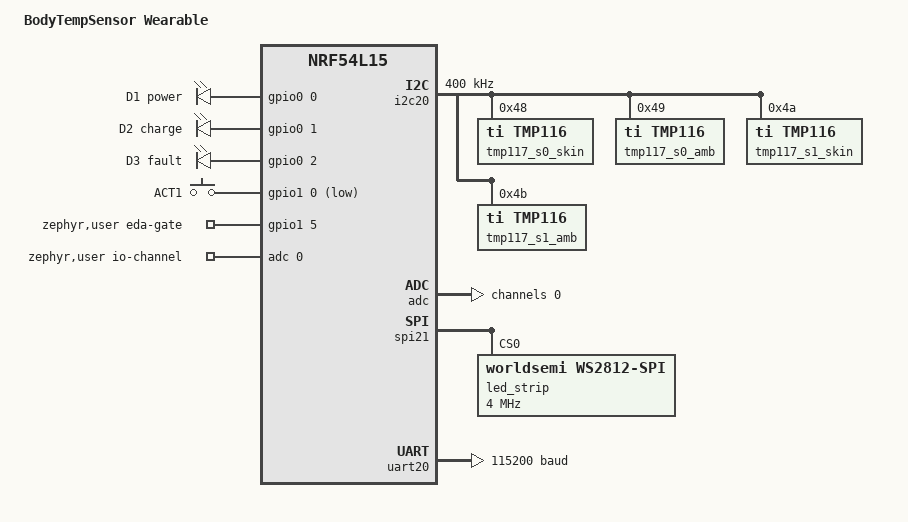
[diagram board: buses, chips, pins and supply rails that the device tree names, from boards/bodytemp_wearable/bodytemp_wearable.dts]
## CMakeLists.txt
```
# ============================================================================
#  File:    CMakeLists.txt
#  Purpose: App-level build script for the biometric chest-strap firmware.
#  Author:  Daan
#  Date:    2026-06-14
#
#  Description:
#    Standard nRF Connect SDK / Zephyr application CMake. Finds the Zephyr
#    package, registers the firmware sources, and exposes src/ as an include
#    root so modules use folder-qualified includes (e.g. "sensors/heatflux.h").
#    The board (DK or custom) is selected on the west command line, not here.
# ============================================================================

cmake_minimum_required(VERSION 3.20.0)

# BOARD_ROOT lets west find the custom board definition under boards/ in-tree.
list(APPEND BOARD_ROOT ${CMAKE_CURRENT_SOURCE_DIR})

find_package(Zephyr REQUIRED HINTS $ENV{ZEPHYR_BASE})
project(biometric_wearable LANGUAGES C)

# src/ as an include root so folder-qualified includes ("app/app_config.h",
# "sensors/heatflux.h", "util/log_cfg.h") resolve. The per-module subdirs are
# also added so a header can include a sibling module's header by bare name
# (e.g. temp_tmp117.h -> "app_data.h").
target_include_directories(app PRIVATE
	src
	src/app
	src/sensors
	src/radio
	src/hmi
	src/util
)

# ---- Firmware sources --------------------------------------------------------
target_sources(app PRIVATE
	src/main.c

	src/app/app_state.c

	src/sensors/temp_tmp117.c
	src/sensors/heatflux.c
	src/sensors/eda_gsr.c

	src/radio/ble_service.c
	src/radio/ant_profile.c

	src/hmi/buttons.c
	src/hmi/leds.c
	src/hmi/status_led.c

	src/util/battery.c
)
```

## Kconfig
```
# ============================================================================
#  File:    Kconfig
#  Purpose: App-specific Kconfig options (feature flags, future tunables).
#  Author:  Daan
#  Date:    2026-06-14
#
#  Description:
#    App-level Kconfig. Most numeric tunables live in src/app/app_config.h so
#    they are visible next to the code that uses them; this file exists for
#    options that genuinely belong in the build configuration (feature toggles
#    a downstream build or CI might want to flip). Sourcing the Zephyr Kconfig
#    at the end keeps the standard menu structure intact.
# ============================================================================

menu "Biometric Wearable (PoC) options"

config APP_FEATURE_ANT
	bool "Enable the ANT+ broadcast back-end"
	default y
	help
	  Compile and start the ANT+ broadcast profile (primary link). Turn off
	  for a BLE-only bring-up. Independent of the upstream CONFIG_ANT symbol
	  the ANT add-on provides; ant_profile.c also guards on CONFIG_ANT.

config APP_FEATURE_BLE
	bool "Enable the BLE GATT service back-end"
	default y
	help
	  Compile and start the custom BLE biometric service (secondary link).

endmenu

# Pull in the standard Zephyr Kconfig tree so the normal options remain.
source "Kconfig.zephyr"
```

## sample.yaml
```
# ============================================================================
#  File:    sample.yaml
#  Purpose: NCS-style sample metadata for CI / twister discovery.
#  Author:  Daan
#  Date:    2026-06-14
#
#  Description:
#    Optional NCS metadata describing this application as a buildable sample.
#    Lets Zephyr's twister build it for the DK target in CI. The custom board
#    is intentionally not listed as a default CI target until its definition is
#    finalised.
# ============================================================================

sample:
  name: Biometric Chest-Strap Wearable (PoC)
  description: >
    nRF54L15 firmware streaming TMP117 heat-flux core-temperature and EDA/GSR
    biometrics over ANT+ (primary) and a custom BLE GATT service (secondary).

common:
  tags: ant ble sensor saadc tmp117 led_strip

tests:
  sample.biometric_wearable.dk:
    platform_allow:
      - nrf54l15dk/nrf54l15/cpuapp
    integration_platforms:
      - nrf54l15dk/nrf54l15/cpuapp
    build_only: true
    tags: ble sensor
```

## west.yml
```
# ============================================================================
#  File:    west.yml
#  Purpose: Freestanding-app west manifest (NCS + ANT add-on).
#  Author:  Daan
#  Date:    2026-06-14
#
#  Description:
#    Use this ONLY if you manage the firmware as a freestanding west workspace
#    (its own .west/). It imports the nRF Connect SDK at a pinned revision and
#    adds the ANT for nRF Connect SDK add-on, which is NOT part of the default
#    NCS manifest. If you instead build inside an existing NCS tree, ignore this
#    file and add the firmware to that workspace's manifest.
#
#    Versions: pinned to NCS v3.3.0 (the current release as of 2026-06). The
#    ANT add-on tag is aligned to the matching sdk-nrf tag — confirm the exact
#    tag in the add-on release notes before relying on nRF54L support.
# ============================================================================

manifest:
  remotes:
    - name: nordic
      url-base: https://github.com/nrfconnect
    - name: thisisant
      # ANT add-on (sdk-ant). Mirror used by the official add-on docs.
      url-base: https://github.com/thisisant

  projects:
    # ---- nRF Connect SDK (pulls in Zephyr, MCUboot, drivers via import) ----
    - name: nrf
      remote: nordic
      repo-path: sdk-nrf
      revision: v3.3.0
      import: true

    # ---- ANT for nRF Connect SDK add-on (primary radio protocol) ----------
    # TODO(PoC): set 'revision' to the add-on tag that documents nRF54L
    # support in its compatibility matrix (see README assumptions).
    - name: sdk-ant
      remote: thisisant
      repo-path: sdk-ant
      revision: main
      path: ant

  self:
    path: application
```

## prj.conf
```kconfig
# ============================================================================
#  File:    prj.conf
#  Purpose: Kconfig for the biometric chest-strap firmware (all boards).
#  Author:  Daan
#  Date:    2026-06-14
#
#  Description:
#    Enables the subsystems the firmware needs: BLE peripheral + GATT, the ANT
#    add-on, I2C + TMP117 sensor, SAADC, GPIO, the WS2812 led_strip driver, and
#    logging. Board-specific pin/peripheral wiring lives in the devicetree
#    overlays, not here. Each non-obvious line is commented.
# ============================================================================

# ---- Logging ----------------------------------------------------------------
CONFIG_LOG=y
CONFIG_LOG_DEFAULT_LEVEL=3            # 3 = INFO; raise to 4 for debug bring-up

# ---- C library / float printing ---------------------------------------------
CONFIG_CBPRINTF_FP_SUPPORT=y          # LOG_*("%f", ...) for temps/conductance
CONFIG_FPU=y                          # heat-flux maths uses float

# ---- GPIO / sensors subsystem ----------------------------------------------
CONFIG_GPIO=y
CONFIG_SENSOR=y                       # Zephyr sensor API (TMP117 via tmp116)
CONFIG_TMP116=y                       # in-tree driver; covers TMP116 AND TMP117

# ---- I2C (TMP117 bus) -------------------------------------------------------
CONFIG_I2C=y

# ---- ADC / SAADC (EDA-GSR) --------------------------------------------------
CONFIG_ADC=y
CONFIG_ADC_NRFX_SAADC=y               # nRF SAADC backend

# ---- WS2812 status pixel ----------------------------------------------------
CONFIG_LED_STRIP=y
CONFIG_WS2812_STRIP=y                 # WS2812 led_strip (SPI variant in overlay)
CONFIG_SPI=y                          # SPI transport for worldsemi,ws2812-spi

# ---- Bluetooth LE (secondary link) ------------------------------------------
CONFIG_BT=y
CONFIG_BT_PERIPHERAL=y                # we advertise + accept one central
CONFIG_BT_DEVICE_NAME="BodyTempPoC"
CONFIG_BT_DEVICE_APPEARANCE=0
CONFIG_BT_GATT_DYNAMIC_DB=n           # service is static (BT_GATT_SERVICE_DEFINE)

# ---- ANT (primary link) -----------------------------------------------------
# Provided by the NCS ANT add-on. Symbols below assume the add-on is in the
# west manifest (see west.yml / README). ant_profile.c is guarded by CONFIG_ANT
# so the app still builds for BLE-only bring-up if the add-on is absent.
CONFIG_ANT=y

# ---- Multiprotocol arbitration ----------------------------------------------
# BLE + ANT coexist through MPSL timeslot arbitration that NCS provides; we do
# not hand-roll timeslots. MPSL is pulled in by the protocol stacks above.
CONFIG_MPSL=y

# ---- Kernel / threads -------------------------------------------------------
CONFIG_MAIN_STACK_SIZE=2048
CONFIG_SYSTEM_WORKQUEUE_STACK_SIZE=2048   # button debounce work runs here
CONFIG_HEAP_MEM_POOL_SIZE=2048

# ---- Optional: USB CDC ACM serial console -----------------------------------
# Uncomment to route the log/console over USB-C (J1) instead of the DK VCOM.
# CONFIG_USB_DEVICE_STACK=y
# CONFIG_USB_CDC_ACM=y
# CONFIG_UART_LINE_CTRL=y
```

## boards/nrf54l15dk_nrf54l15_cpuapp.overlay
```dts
/*
 * ============================================================================
 *  File:    nrf54l15dk_nrf54l15_cpuapp.overlay
 *  Purpose: DK bring-up wiring for the biometric chest-strap firmware.
 *  Author:  Daan
 *  Date:    2026-06-14
 *
 *  Description:
 *    Adds the peripherals the firmware needs on top of the stock nRF54L15 DK:
 *      - I2C bus with the four TMP117 sensors (two heat-flux stacks).
 *      - SAADC channel for the EDA/GSR signal + an excitation-gate GPIO.
 *      - One WS2812 status pixel on SPI.
 *    The DK's own `leds` and `buttons` (gpio-leds / gpio-keys) nodes are reused
 *    as-is: the firmware binds to them by node label, so no redefinition here.
 *
 *  NOTE: pin assignments below are placeholders chosen so the project builds
 *  and runs on a bare DK. Wire the DK headers to match, or edit these to suit
 *  your jumpering — they do not affect any source file.
 * ============================================================================
 */

#include <zephyr/dt-bindings/gpio/gpio.h>
#include <zephyr/dt-bindings/led/led.h>
#include <zephyr/dt-bindings/adc/adc.h>
#include <zephyr/dt-bindings/adc/nrf-saadc.h>

/* ============================================================
 *  PINCTRL  (I2C + SPI signal routing)
 * ============================================================ */
&pinctrl {
	/* I2C20 -> TMP117 bus. SDA P1.11, SCL P1.12. */
	i2c20_default: i2c20_default {
		group1 {
			psels = <NRF_PSEL(TWIM_SDA, 1, 11)>,
				<NRF_PSEL(TWIM_SCL, 1, 12)>;
		};
	};
	i2c20_sleep: i2c20_sleep {
		group1 {
			psels = <NRF_PSEL(TWIM_SDA, 1, 11)>,
				<NRF_PSEL(TWIM_SCL, 1, 12)>;
			low-power-enable;
		};
	};

	/* SPI21 -> WS2812 data line. Only MOSI carries data; SCK is parked. */
	spi21_default: spi21_default {
		group1 {
			psels = <NRF_PSEL(SPIM_SCK,  2, 1)>,
				<NRF_PSEL(SPIM_MOSI, 2, 2)>;
		};
	};
	spi21_sleep: spi21_sleep {
		group1 {
			psels = <NRF_PSEL(SPIM_SCK,  2, 1)>,
				<NRF_PSEL(SPIM_MOSI, 2, 2)>;
			low-power-enable;
		};
	};
};

/* ============================================================
 *  I2C20  +  FOUR TMP117 SENSORS
 * ============================================================ */
&i2c20 {
	status = "okay";
	pinctrl-0 = <&i2c20_default>;
	pinctrl-1 = <&i2c20_sleep>;
	pinctrl-names = "default", "sleep";
	clock-frequency = <400000>;   /* I2C fast mode */

	/*
	 * Four distinct ADD0 straps -> addresses 0x48..0x4B. Stack 0 = skin+amb
	 * at 0x48/0x49, stack 1 = skin+amb at 0x4A/0x4B. The Zephyr "ti,tmp116"
	 * driver covers the TMP117. Node LABELS are the contract with the code.
	 */
	tmp117_s0_skin: tmp117@48 {
		compatible = "ti,tmp116";
		reg = <0x48>;
	};
	tmp117_s0_amb: tmp117@49 {
		compatible = "ti,tmp116";
		reg = <0x49>;
	};
	tmp117_s1_skin: tmp117@4a {
		compatible = "ti,tmp116";
		reg = <0x4a>;
	};
	tmp117_s1_amb: tmp117@4b {
		compatible = "ti,tmp116";
		reg = <0x4b>;
	};
};

/* ============================================================
 *  SAADC  (EDA / GSR channel)
 * ============================================================ */
&adc {
	status = "okay";
	#address-cells = <1>;
	#size-cells = <0>;

	/*
	 * EDA channel: VDD/4 reference with gain 1/2 -> full scale ~1.65 V, which
	 * comfortably covers the MCP6001 TIA output swing. adc_raw_to_millivolts
	 * uses these to return calibrated input mV regardless of the exact combo.
	 */
	channel@0 {
		reg = <0>;
		zephyr,gain = "ADC_GAIN_1_2";
		zephyr,reference = "ADC_REF_VDD_1_4";
		zephyr,acquisition-time = <ADC_ACQ_TIME_DEFAULT>;
		zephyr,input-positive = <NRF_SAADC_AIN0>;
		zephyr,resolution = <12>;
	};
};

/* ============================================================
 *  SPI21  +  WS2812 STATUS PIXEL
 * ============================================================ */
&spi21 {
	status = "okay";
	pinctrl-0 = <&spi21_default>;
	pinctrl-1 = <&spi21_sleep>;
	pinctrl-names = "default", "sleep";

	led_strip: ws2812@0 {
		compatible = "worldsemi,ws2812-spi";
		reg = <0>;
		spi-max-frequency = <4000000>;
		chain-length = <1>;            /* single status pixel */
		color-mapping = <LED_COLOR_ID_GREEN
				 LED_COLOR_ID_RED
				 LED_COLOR_ID_BLUE>; /* WS2812 GRB order */
		spi-one-frame = <0x70>;        /* SPI byte encoding a '1' bit */
		spi-zero-frame = <0x40>;       /* SPI byte encoding a '0' bit */
	};
};

/* ============================================================
 *  APP-LEVEL NODES  (ADC channel handle + EDA excitation gate)
 * ============================================================ */
/ {
	zephyr,user {
		/* SAADC channel handle the eda_gsr module reads. */
		io-channels = <&adc 0>;

		/* GPIO that gates the electrode excitation drive. */
		eda-gate-gpios = <&gpio1 5 GPIO_ACTIVE_HIGH>;
	};

	chosen {
		/* status_led.c resolves the strip through this chosen node. */
		zephyr,led-strip = &led_strip;
	};
};
```

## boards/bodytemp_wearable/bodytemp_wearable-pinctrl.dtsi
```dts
/*
 * ============================================================================
 *  File:    bodytemp_wearable-pinctrl.dtsi
 *  Purpose: Pin routing for the custom BodyTempSensor PCB.
 *  Author:  Daan
 *  Date:    2026-06-14
 *
 *  Description:
 *    Signal-to-pin mapping for the real PCB's nRF54L15. Mirrors the DK overlay
 *    structure but with the production pin choices. Every PSEL below must be
 *    confirmed against the KiCad schematic before the first board spin is
 *    flashed — these are scaffold values, not verified routing.
 *
 *  TODO(PoC): replace every pin number with the schematic-confirmed net.
 * ============================================================================
 */

&pinctrl {
	/* --- I2C20: TMP117 heat-flux bus --- */
	i2c20_default: i2c20_default {
		group1 {
			psels = <NRF_PSEL(TWIM_SDA, 1, 11)>,
				<NRF_PSEL(TWIM_SCL, 1, 12)>;
		};
	};
	i2c20_sleep: i2c20_sleep {
		group1 {
			psels = <NRF_PSEL(TWIM_SDA, 1, 11)>,
				<NRF_PSEL(TWIM_SCL, 1, 12)>;
			low-power-enable;
		};
	};

	/* --- SPI21: WS2812 status pixel data line --- */
	spi21_default: spi21_default {
		group1 {
			psels = <NRF_PSEL(SPIM_SCK,  2, 1)>,
				<NRF_PSEL(SPIM_MOSI, 2, 2)>;
		};
	};
	spi21_sleep: spi21_sleep {
		group1 {
			psels = <NRF_PSEL(SPIM_SCK,  2, 1)>,
				<NRF_PSEL(SPIM_MOSI, 2, 2)>;
			low-power-enable;
		};
	};
};
```

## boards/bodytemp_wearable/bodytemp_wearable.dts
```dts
/*
 * ============================================================================
 *  File:    bodytemp_wearable.dts
 *  Purpose: Devicetree for the custom BodyTempSensor PCB (nRF54L15-QFAA).
 *  Author:  Daan
 *  Date:    2026-06-14
 *
 *  Description:
 *    Board definition for the real chest-strap PCB. Brings in the nRF54L15
 *    application-core SoC devicetree and the board pinctrl, then declares the
 *    on-board peripherals the firmware drives: the four TMP117 sensors, the
 *    EDA SAADC channel + excitation gate, the WS2812 status pixel, the three
 *    discrete LEDs (D1..D3), and the tactile button (ACT1).
 *
 *  TODO(PoC): this is a SCAFFOLD. Copy the exact SoC include, RAM/flash
 *  `chosen`, and partitioning from the installed NCS nrf54l15dk board files,
 *  then confirm every pin against the KiCad schematic. A second button child
 *  is stubbed (disabled) per the BOM discrepancy note.
 * ============================================================================
 */

/dts-v1/;

#include <nordic/nrf54l15_cpuapp.dtsi>
#include <zephyr/dt-bindings/gpio/gpio.h>
#include <zephyr/dt-bindings/led/led.h>
#include <zephyr/dt-bindings/adc/adc.h>
#include <zephyr/dt-bindings/adc/nrf-saadc.h>
#include "bodytemp_wearable-pinctrl.dtsi"

/ {
	model = "BodyTempSensor Wearable";
	compatible = "itsnotdaan,bodytemp-wearable";

	chosen {
		zephyr,sram = &cpuapp_sram;
		zephyr,flash = &cpuapp_rram;
		zephyr,console = &uart20;
		zephyr,led-strip = &led_strip;
	};

	/* --- Three discrete status LEDs (D1, D2, D3) --- */
	leds: leds {
		compatible = "gpio-leds";
		led_power: led_0 {
			gpios = <&gpio0 0 GPIO_ACTIVE_HIGH>;
			label = "D1 power";
		};
		led_charge: led_1 {
			gpios = <&gpio0 1 GPIO_ACTIVE_HIGH>;
			label = "D2 charge";
		};
		led_fault: led_2 {
			gpios = <&gpio0 2 GPIO_ACTIVE_HIGH>;
			label = "D3 fault";
		};
	};

	/*
	 * --- Buttons (gpio-keys) ---
	 * ACT1 is the single populated tactile switch. The firmware supports N
	 * buttons by iterating this node's children, so the second button is just
	 * a disabled child to enable later — no code change required.
	 */
	buttons: buttons {
		compatible = "gpio-keys";
		button_act1: button_0 {
			gpios = <&gpio1 0 (GPIO_PULL_UP | GPIO_ACTIVE_LOW)>;
			label = "ACT1";
		};
		/* TODO(PoC): populate + enable when a 2nd switch is fitted. */
		button_aux: button_1 {
			gpios = <&gpio1 1 (GPIO_PULL_UP | GPIO_ACTIVE_LOW)>;
			label = "AUX (stubbed)";
			status = "disabled";
		};
	};

	/* --- App-level handles: EDA ADC channel + excitation gate GPIO --- */
	zephyr,user {
		io-channels = <&adc 0>;
		eda-gate-gpios = <&gpio1 5 GPIO_ACTIVE_HIGH>;
	};
};

/* --- I2C20: four TMP117 sensors (two heat-flux stacks) --- */
&i2c20 {
	status = "okay";
	pinctrl-0 = <&i2c20_default>;
	pinctrl-1 = <&i2c20_sleep>;
	pinctrl-names = "default", "sleep";
	clock-frequency = <400000>;

	tmp117_s0_skin: tmp117@48 { compatible = "ti,tmp116"; reg = <0x48>; };
	tmp117_s0_amb:  tmp117@49 { compatible = "ti,tmp116"; reg = <0x49>; };
	tmp117_s1_skin: tmp117@4a { compatible = "ti,tmp116"; reg = <0x4a>; };
	tmp117_s1_amb:  tmp117@4b { compatible = "ti,tmp116"; reg = <0x4b>; };
};

/* --- SAADC: EDA / GSR channel --- */
&adc {
	status = "okay";
	#address-cells = <1>;
	#size-cells = <0>;

	channel@0 {
		reg = <0>;
		zephyr,gain = "ADC_GAIN_1_2";
		zephyr,reference = "ADC_REF_VDD_1_4";
		zephyr,acquisition-time = <ADC_ACQ_TIME_DEFAULT>;
		zephyr,input-positive = <NRF_SAADC_AIN0>;
		zephyr,resolution = <12>;
	};
};

/* --- SPI21: WS2812 single status pixel --- */
&spi21 {
	status = "okay";
	pinctrl-0 = <&spi21_default>;
	pinctrl-1 = <&spi21_sleep>;
	pinctrl-names = "default", "sleep";

	led_strip: ws2812@0 {
		compatible = "worldsemi,ws2812-spi";
		reg = <0>;
		spi-max-frequency = <4000000>;
		chain-length = <1>;
		color-mapping = <LED_COLOR_ID_GREEN
				 LED_COLOR_ID_RED
				 LED_COLOR_ID_BLUE>;
		spi-one-frame = <0x70>;
		spi-zero-frame = <0x40>;
	};
};

/* Console UART for SWD/USB debug logging during bring-up. */
&uart20 {
	status = "okay";
	current-speed = <115200>;
};
```

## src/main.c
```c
/**
 * ============================================================================
 *  File:    main.c
 *  Purpose: Entry point — initialise subsystems, start the sensor thread.
 *  Author:  Daan
 *  Date:    2026-06-14
 *
 *  Description:
 *    The project's table of contents. main() brings the hardware up in a
 *    deliberate order, spawns the periodic sensor-sampling thread, and then
 *    drops out — Zephyr idles the CPU between thread wakeups, so there is no
 *    busy-wait here. All business logic lives in the modules; main() only
 *    wires them together and owns the high-level status policy (LEDs).
 *
 *    Init order rationale (each step depends on the previous):
 *      1. GPIO LEDs/buttons/EDA-gate  - cheap, gives us a visible heartbeat.
 *      2. WS2812 status pixel         - so later failures can be shown in red.
 *      3. I2C + TMP117 sensors        - the core measurement chain.
 *      4. SAADC (EDA/GSR)             - the second measurement chain.
 *      5. BLE stack + service         - radios come AFTER sensors so the very
 *      6. ANT+ broadcast                first transmitted frame carries real
 *                                       data, not zeros.
 *      7. Sensor thread               - starts sampling once everything is up.
 * ============================================================================
 */

/* ============================================================
 *  INCLUDES
 * ============================================================ */
#include "app/app_config.h"
#include "app/app_data.h"
#include "app/app_state.h"

#include "sensors/temp_tmp117.h"
#include "sensors/eda_gsr.h"

#include "radio/ble_service.h"
#include "radio/ant_profile.h"

#include "hmi/buttons.h"
#include "hmi/leds.h"
#include "hmi/status_led.h"

#include "util/battery.h"
#include "util/log_cfg.h"

#include <zephyr/kernel.h>

LOG_MODULE_REGISTER(main, APP_LOG_LEVEL);

/* ============================================================
 *  DEFINES
 * ============================================================ */
#define SENSOR_THREAD_STACK_SIZE  2048
#define SENSOR_THREAD_PRIO        5

/* ============================================================
 *  STATIC GLOBALS
 * ============================================================ */
static K_THREAD_STACK_DEFINE(m_sensor_stack, SENSOR_THREAD_STACK_SIZE);
static struct k_thread m_sensor_thread;

/* Latches once any sensor faults so the status LED stays red until reboot. */
static bool m_sensor_fault_latched;

/* ============================================================
 *  PRIVATE FUNCTION PROTOTYPES
 * ============================================================ */
static void sensor_thread_fn(void *p1, void *p2, void *p3);
static void on_button_event(uint8_t index, button_event_t evt);
static void on_ble_conn(bool connected);
static void refresh_status_led(uint8_t frame_flags);

/* ============================================================
 *  PUBLIC FUNCTION (entry point)
 * ============================================================ */

/**
 * @brief  Firmware entry point: init subsystems then start sampling.
 * @return 0 (never reached in practice; Zephyr keeps the kernel running).
 */
int main(void)
{
	int rc;

	LOG_INF("Biometric chest-strap PoC starting (nRF54L15)");

	/* Shared-state mutex first — every later module may cache into it. */
	(void)app_state_init();

	/* 1. Discrete GPIO: LEDs, buttons, and the EDA excitation gate (in eda). */
	rc = leds_init();
	if (rc) {
		LOG_WRN("leds_init rc=%d", rc);
	}
	leds_set(LED_ROLE_POWER, true); /* visible heartbeat: we are alive */

	rc = buttons_init(on_button_event);
	if (rc) {
		LOG_WRN("buttons_init rc=%d", rc);
	}

	/* 2. Status pixel up early so any later fault can be shown in red. */
	rc = status_led_init();
	if (rc) {
		LOG_WRN("status_led_init rc=%d", rc);
	}

	/* 3. I2C + TMP117 heat-flux sensors. */
	rc = temp_tmp117_init();
	if (rc) {
		LOG_ERR("temp_tmp117_init rc=%d", rc);
		m_sensor_fault_latched = true;
	}

	/* 4. SAADC + excitation gate for the EDA/GSR channel. */
	rc = eda_gsr_init();
	if (rc) {
		LOG_ERR("eda_gsr_init rc=%d", rc);
		m_sensor_fault_latched = true;
	}

	/* Optional charger status inputs. */
	(void)battery_init();

	/* 5. BLE (secondary): enable stack, register service, advertise. */
	ble_service_set_conn_cb(on_ble_conn);
	rc = ble_service_init();
	if (rc) {
		LOG_ERR("ble_service_init rc=%d", rc);
	}

	/* 6. ANT+ (primary): open the broadcast channel. */
	rc = ant_profile_init();
	if (rc) {
		LOG_WRN("ant_profile_init rc=%d", rc);
	}

	/* Show advertising/transmitting unless a sensor already faulted. */
	refresh_status_led(m_sensor_fault_latched ? APP_FLAG_STACK0_FAULT : 0);

	/* 7. Start the periodic sampling thread now that the chain is up. */
	k_thread_create(&m_sensor_thread, m_sensor_stack,
			K_THREAD_STACK_SIZEOF(m_sensor_stack),
			sensor_thread_fn, NULL, NULL, NULL,
			SENSOR_THREAD_PRIO, 0, K_NO_WAIT);
	k_thread_name_set(&m_sensor_thread, "sensors");

	/*
	 * main() returns to the idle thread. Do NOT busy-wait here: the kernel
	 * idles the CPU (and the nRF54L enters low-power) between thread wakeups.
	 */
	return 0;
}

/* ============================================================
 *  PRIVATE FUNCTIONS
 * ============================================================ */

/**
 * @brief  Periodic sensor loop: collect a frame and hand it to both radios.
 * @param  p1  Unused thread arg.
 * @param  p2  Unused thread arg.
 * @param  p3  Unused thread arg.
 *
 * Runs forever at APP_SENSOR_SAMPLE_PERIOD_MS. Each tick builds one frame
 * (TMP117 -> heat flux -> core temp, plus EDA), pushes it to ANT+ (primary)
 * and BLE (secondary), and updates the status LED from the frame's fault bits.
 */
static void sensor_thread_fn(void *p1, void *p2, void *p3)
{
	ARG_UNUSED(p1);
	ARG_UNUSED(p2);
	ARG_UNUSED(p3);

	while (1) {
		biometric_frame_t frame;
		(void)app_state_collect(&frame);

		/* Primary protocol first, then the secondary link. */
		ant_profile_update(&frame);
		ble_service_update(&frame);

		refresh_status_led(frame.flags);

		k_sleep(K_MSEC(APP_SENSOR_SAMPLE_PERIOD_MS));
	}
}

/**
 * @brief  Handle a debounced button event.
 * @param  index  Button index (devicetree order).
 * @param  evt    Short or long press.
 *
 * PoC behaviour: a short press toggles the power LED as a liveness check; a
 * long press is logged for future use (e.g. start/stop a logging session).
 */
static void on_button_event(uint8_t index, button_event_t evt)
{
	static bool toggle;

	if (evt == BUTTON_EVT_SHORT_PRESS) {
		toggle = !toggle;
		leds_set(LED_ROLE_POWER, toggle);
		LOG_INF("Button %u short press", index);
	} else {
		/* TODO(PoC): map long-press to a session start/stop action. */
		LOG_INF("Button %u long press", index);
	}
}

/**
 * @brief  BLE connection-state hook from the service layer.
 * @param  connected  true on connect, false on disconnect.
 *
 * Keeps LED policy in main() (the HMI owner) rather than in the radio module.
 */
static void on_ble_conn(bool connected)
{
	/* A live fault always wins over link colour. */
	if (m_sensor_fault_latched) {
		return;
	}
	status_led_set(connected ? STATUS_CONNECTED : STATUS_ADVERTISING);
}

/**
 * @brief  Map frame fault flags onto the status LED and the fault LED.
 * @param  frame_flags  APP_FLAG_* bitmask from the latest frame.
 *
 * Any sensor fault latches red until reboot — for a PoC a sticky fault is more
 * useful than a flickering indicator. Otherwise the colour reflects link
 * state (green connected, blue advertising).
 */
static void refresh_status_led(uint8_t frame_flags)
{
	const uint8_t sensor_faults =
		APP_FLAG_STACK0_FAULT | APP_FLAG_STACK1_FAULT | APP_FLAG_EDA_FAULT;

	if (frame_flags & sensor_faults) {
		m_sensor_fault_latched = true;
	}

	leds_set(LED_ROLE_CHARGE, (frame_flags & APP_FLAG_BATT_CHARGING) != 0);

	if (m_sensor_fault_latched) {
		leds_set(LED_ROLE_FAULT, true);
		status_led_set(STATUS_SENSOR_FAULT);
		return;
	}

	leds_set(LED_ROLE_FAULT, false);
	status_led_set(ble_service_is_connected() ? STATUS_CONNECTED
						  : STATUS_ADVERTISING);
}
```
